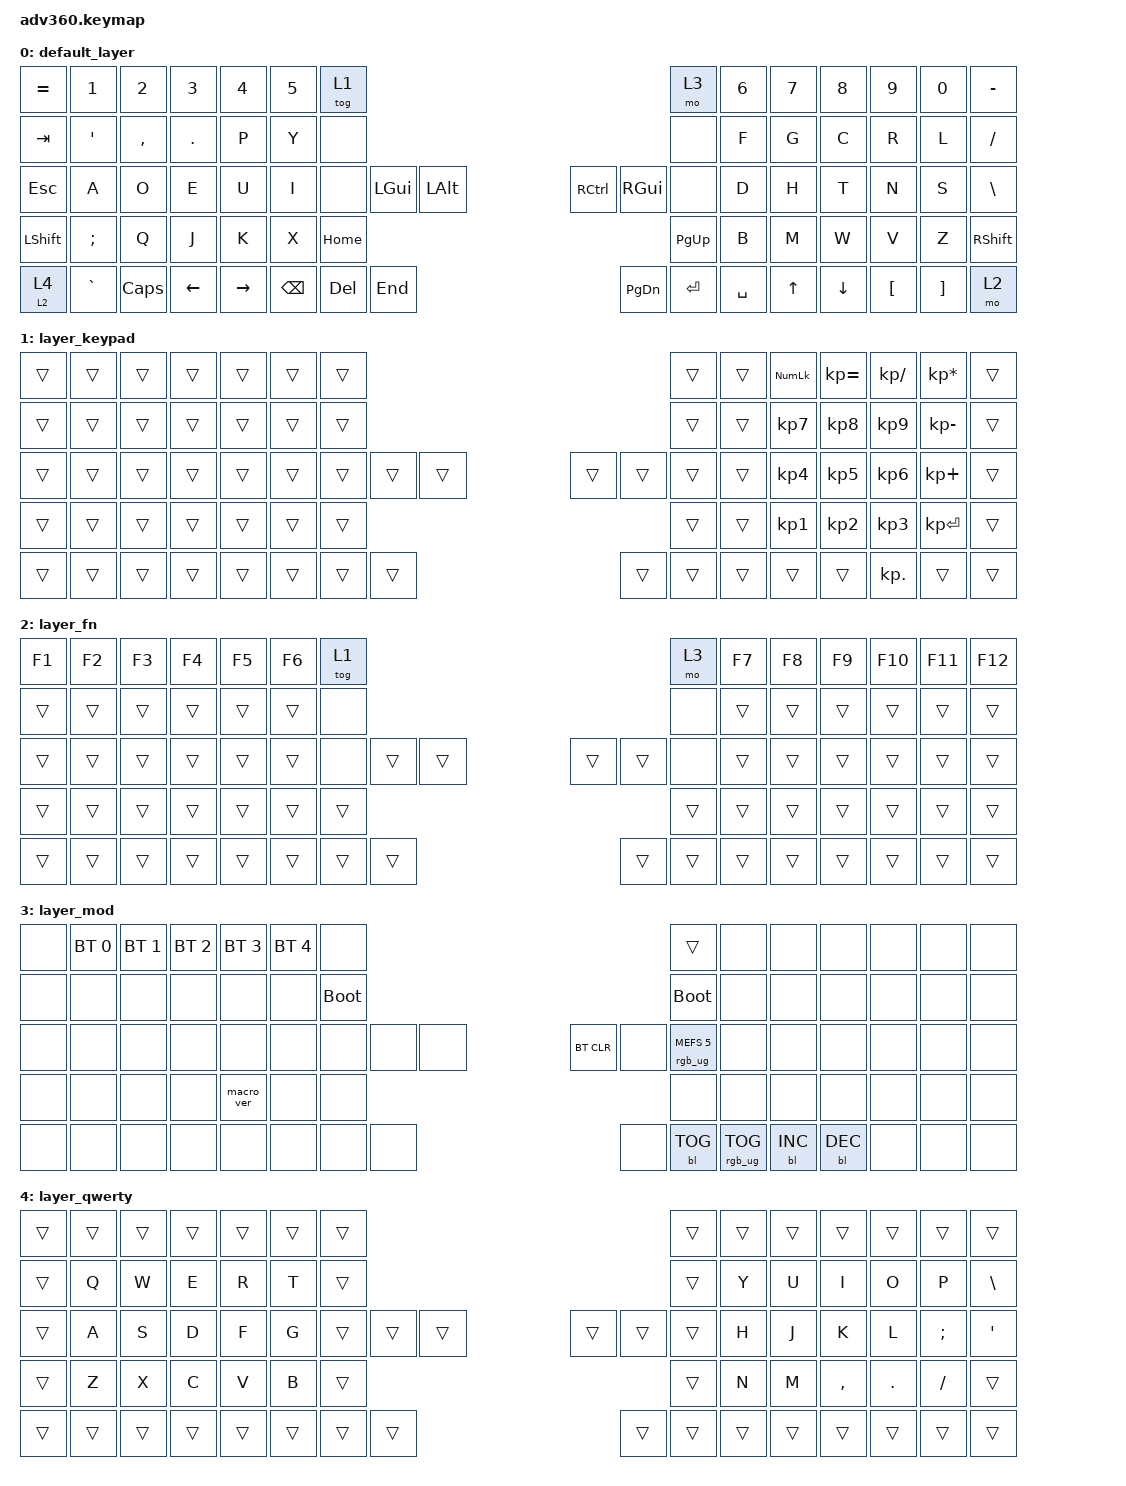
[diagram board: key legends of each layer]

/*
 * Copyright (c) 2020 The ZMK Contributors
 *
 * SPDX-License-Identifier: MIT
 */


/* THIS FILE WAS GENERATED!
 *
 * This file was generated automatically. You may or may not want to
 * edit it directly.
 */

#include <behaviors.dtsi>
#include <dt-bindings/zmk/keys.h>
#include <dt-bindings/zmk/bt.h>
#include <dt-bindings/zmk/rgb.h>
#include <dt-bindings/zmk/backlight.h>

/ {
  behaviors {
    #include "macros.dtsi"
    #include "version.dtsi"

    hm: homerow_mods {
        compatible = "zmk,behavior-hold-tap";
        label = "HOMEROW_MODS";
        #binding-cells = <2>;
        tapping-term-ms = <200>;
        quick_tap_ms = <175>;
        flavor = "tap-preferred";
        bindings = <&kp>, <&kp>;
    };

    mo_tog: behavior_mo_tog {
        compatible = "zmk,behavior-hold-tap";
        #binding-cells = <2>;
        flavor = "hold-preferred";
        tapping-term-ms = <200>;
        bindings = <&mo>, <&tog>;
    };
  };

    keymap {
        compatible = "zmk,keymap";


        default_layer {
            bindings = <
   &kp EQUAL     &kp N1     &kp N2    &kp N3     &kp N4  &kp N5              &tog 1                                                                 &mo 3  &kp N6  &kp N7    &kp N8    &kp N9    &kp N0  &kp MINUS
     &kp TAB    &kp SQT  &kp COMMA   &kp DOT      &kp P   &kp Y               &none                                                                 &none   &kp F   &kp G     &kp C     &kp R     &kp L   &kp FSLH
     &kp ESC      &kp A      &kp O     &kp E      &kp U   &kp I               &none  &kp LGUI  &kp LALT                   &kp RCTRL  &kp RGUI      &none   &kp D   &kp H     &kp T     &kp N     &kp S   &kp BSLH
   &kp LSHFT   &kp SEMI      &kp Q     &kp J      &kp K   &kp X                                 &kp HOME                  &kp PG_UP                         &kp B   &kp M     &kp W     &kp V     &kp Z  &kp RSHFT
 &mo_tog 2 4  &kp GRAVE   &kp CAPS  &kp LEFT  &kp RIGHT                    &kp BSPC    &kp DEL   &kp END                  &kp PG_DN  &kp ENTER  &kp SPACE          &kp UP  &kp DOWN  &kp LBKT  &kp RBKT      &mo 2
            >;
        };

        layer_keypad {
            bindings = <
 &trans  &trans  &trans  &trans  &trans  &trans            &trans                                                  &trans  &trans  &kp KP_NUM  &kp KP_EQUAL  &kp KP_DIVIDE  &kp KP_MULTIPLY  &trans
 &trans  &trans  &trans  &trans  &trans  &trans            &trans                                                  &trans  &trans   &kp KP_N7     &kp KP_N8      &kp KP_N9     &kp KP_MINUS  &trans
 &trans  &trans  &trans  &trans  &trans  &trans            &trans  &trans  &trans                  &trans  &trans  &trans  &trans   &kp KP_N4     &kp KP_N5      &kp KP_N6      &kp KP_PLUS  &trans
 &trans  &trans  &trans  &trans  &trans  &trans                            &trans                  &trans                  &trans   &kp KP_N1     &kp KP_N2      &kp KP_N3     &kp KP_ENTER  &trans
 &trans  &trans  &trans  &trans  &trans                    &trans  &trans  &trans                  &trans  &trans  &trans              &trans        &trans     &kp KP_DOT           &trans  &trans
            >;
        };

        layer_fn {
            bindings = <
 &kp F1  &kp F2  &kp F3  &kp F4  &kp F5  &kp F6            &tog 1                                                   &mo 3  &kp F7  &kp F8  &kp F9  &kp F10  &kp F11  &kp F12
 &trans  &trans  &trans  &trans  &trans  &trans             &none                                                   &none  &trans  &trans  &trans   &trans   &trans   &trans
 &trans  &trans  &trans  &trans  &trans  &trans             &none  &trans  &trans                  &trans  &trans   &none  &trans  &trans  &trans   &trans   &trans   &trans
 &trans  &trans  &trans  &trans  &trans  &trans                            &trans                  &trans                  &trans  &trans  &trans   &trans   &trans   &trans
 &trans  &trans  &trans  &trans  &trans                    &trans  &trans  &trans                  &trans  &trans  &trans          &trans  &trans   &trans   &trans   &trans
            >;
        };

        layer_mod {
            bindings = <
  &none  &bt BT_SEL 0  &bt BT_SEL 1  &bt BT_SEL 2  &bt BT_SEL 3  &bt BT_SEL 4                  &none                                                                          &trans   &none       &none       &none   &none   &none   &none
  &none         &none         &none         &none         &none         &none            &bootloader                                                                     &bootloader   &none       &none       &none   &none   &none   &none
  &none         &none         &none         &none         &none         &none                  &none   &none   &none                  &bt BT_CLR       &none  &rgb_ug RGB_MEFS_CMD 5   &none       &none       &none   &none   &none   &none
  &none         &none         &none         &none    &macro_ver         &none                                  &none                       &none                                       &none       &none       &none   &none   &none   &none
  &none         &none         &none         &none         &none                                &none   &none   &none                       &none  &bl BL_TOG         &rgb_ug RGB_TOG          &bl BL_INC  &bl BL_DEC   &none   &none   &none
            >;
        };

        layer_qwerty {
            bindings = <
 &trans  &trans  &trans  &trans  &trans  &trans            &trans                                                  &trans  &trans  &trans     &trans   &trans    &trans    &trans
 &trans   &kp Q   &kp W   &kp E   &kp R   &kp T            &trans                                                  &trans   &kp Y   &kp U      &kp I    &kp O     &kp P  &kp BSLH
 &trans   &kp A   &kp S   &kp D   &kp F   &kp G            &trans  &trans  &trans                  &trans  &trans  &trans   &kp H   &kp J      &kp K    &kp L  &kp SEMI   &kp SQT
 &trans   &kp Z   &kp X   &kp C   &kp V   &kp B                            &trans                  &trans                   &kp N   &kp M  &kp COMMA  &kp DOT  &kp FSLH    &trans
 &trans  &trans  &trans  &trans  &trans                    &trans  &trans  &trans                  &trans  &trans  &trans          &trans     &trans   &trans    &trans    &trans
            >;
        };

    };
};
